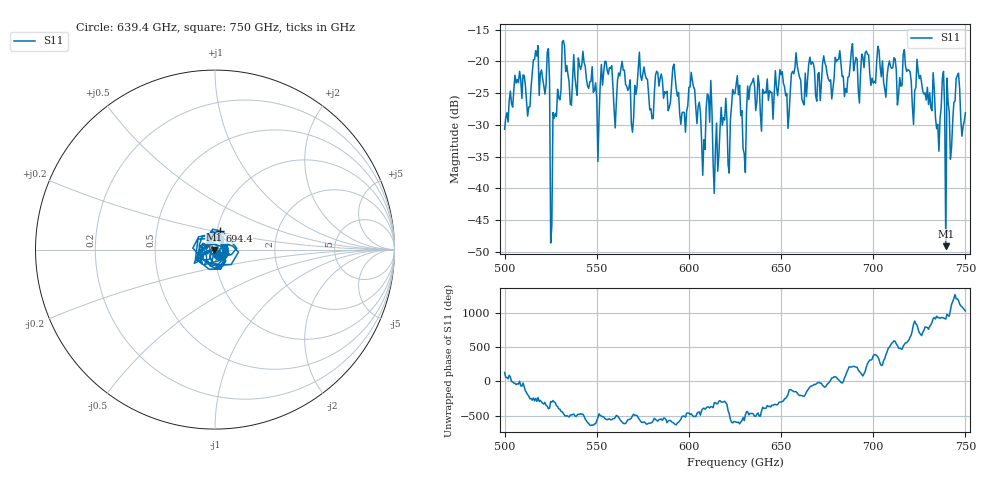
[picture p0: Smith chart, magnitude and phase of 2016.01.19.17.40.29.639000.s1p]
!Created with skrf (http://scikit-rf.org).
# GHz S RI R 50.0
!freq ReS11 ImS11
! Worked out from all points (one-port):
!   401 points, 500 GHz to 750 GHz, reference 50 ohm
!   lowest |S11| = -49.1 dB at 739.4 GHz (marker M1), VSWR 1.01, Z = 49.7 - j0.0348 ohm
!   |S11| at or under -10 dB: start of sweep to end of sweep
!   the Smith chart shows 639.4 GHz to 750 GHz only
!   S11 on the Smith chart (normalised r, x): 639.4 GHz: 1.02, -0.05; 694.4 GHz: 1.03, +0.22; 750 GHz: 1.04, -0.07
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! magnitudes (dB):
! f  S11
! 500 GHz  -30.7
! 506.9 GHz  -22.8
! 513.1 GHz  -27.2
! 516.9 GHz  -18.3
! 523.1 GHz  -18.5
! 526.2 GHz  -28.1
! 531.2 GHz  -16.9
! 550 GHz  -25.8
! 562.5 GHz  -22.3
! 570 GHz  -28.9
! 573.8 GHz  -22.2
! 579.4 GHz  -27.5
! 593.8 GHz  -25.5
! 601.9 GHz  -23.1
! 607.5 GHz  -37.9
! 611.2 GHz  -29.6
! 614.4 GHz  -33.9
! 625 GHz  -25.0
! 629.4 GHz  -33.8
! 633.1 GHz  -24.0
! 639.4 GHz  -31.0
! 656.2 GHz  -21.6
! 687.5 GHz  -20.6
! 694.4 GHz  -19.3
! 718.8 GHz  -21.3
! 739.4 GHz  -49.1
! 745.6 GHz  -22.2
! 750 GHz  -28.1
